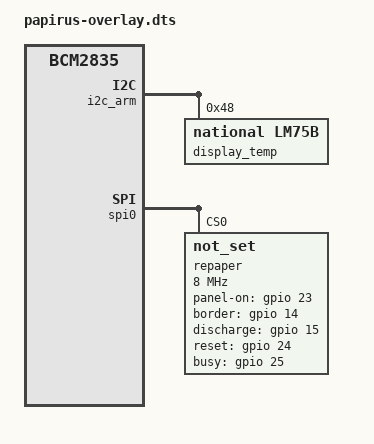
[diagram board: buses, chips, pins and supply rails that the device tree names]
/* PaPiRus ePaper Screen by Pi Supply */

/dts-v1/;
/plugin/;

/ {
	compatible = "brcm,bcm2835";

	fragment@0 {
		target = <&i2c_arm>;
		__overlay__ {
			#address-cells = <1>;
			#size-cells = <0>;
			status = "okay";

			display_temp: lm75@48 {
				compatible = "national,lm75b";
				reg = <0x48>;
				status = "okay";
				#thermal-sensor-cells = <0>;
			};
		};
	};

	fragment@1 {
		target-path = "/thermal-zones";
		__overlay__ {
			display {
				polling-delay-passive = <0>;
				polling-delay = <0>;
				thermal-sensors = <&display_temp>;
			};
		};
	};

	fragment@2 {
		target = <&spidev0>;
		__overlay__ {
			status = "disabled";
		};
	};

	fragment@3 {
		target = <&gpio>;
		__overlay__ {
			repaper_pins: repaper_pins {
				brcm,pins = <14 15 23 24 25>;
				brcm,function = <1 1 1 1 0>; /* out out out out in */
			};
		};
	};

	fragment@4 {
		target = <&spi0>;
		__overlay__ {
			/* needed to avoid dtc warning */
			#address-cells = <1>;
			#size-cells = <0>;
			status = "okay";

			repaper: repaper@0{
				compatible = "not_set";
				reg = <0>;
				pinctrl-names = "default";
				pinctrl-0 = <&repaper_pins>;

				spi-max-frequency = <8000000>;

				panel-on-gpios = <&gpio 23 0>;
				border-gpios = <&gpio 14 0>;
				discharge-gpios = <&gpio 15 0>;
				reset-gpios = <&gpio 24 0>;
				busy-gpios = <&gpio 25 0>;

				repaper-thermal-zone = "display";
			};
		};
	};

	__overrides__ {
		panel = <&repaper>, "compatible";
		speed = <&repaper>, "spi-max-frequency:0";
	};
};
